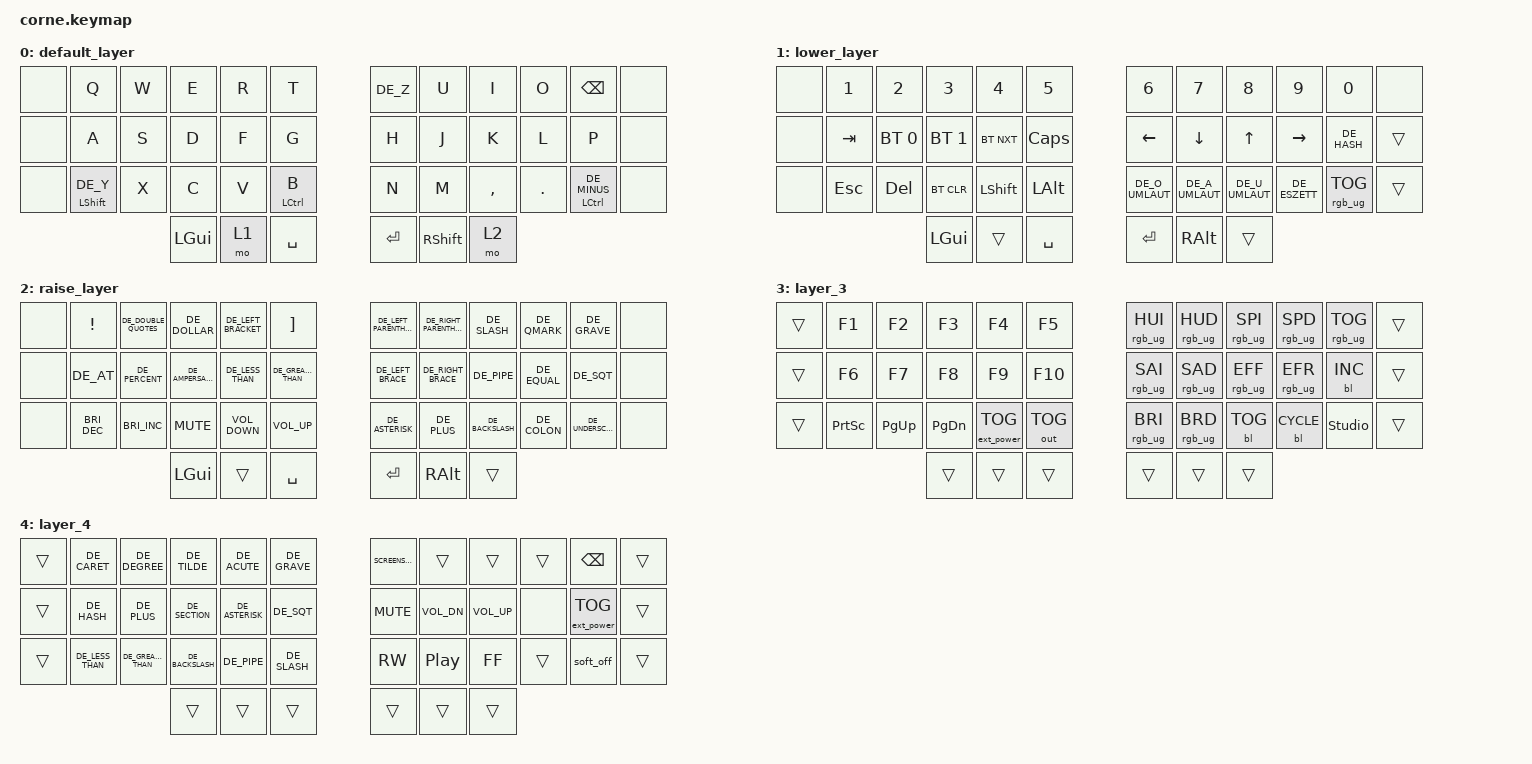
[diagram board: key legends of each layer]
/*
 * Copyright (c) 2020 The ZMK Contributors
 *
 * SPDX-License-Identifier: MIT
 */
// for german locale

#include "keys_de.h"
#include <behaviors.dtsi>
#include <dt-bindings/zmk/backlight.h>
#include <dt-bindings/zmk/bt.h>
#include <dt-bindings/zmk/ext_power.h>
#include <dt-bindings/zmk/keys.h>
#include <dt-bindings/zmk/outputs.h>
#include <dt-bindings/zmk/rgb.h>

&led_strip { chain-length = <27>; };

/ {
    combos {
        compatible = "zmk,combos";

        Layer3 {
            bindings = <&tog 3>;
            key-positions = <37 40>;
        };

        sonderzeichen {
            bindings = <&tog 4>;
            key-positions = <41 37>;
        };
    };

    behaviors {
        leftctrl_b: leftctrl_b {
            compatible = "zmk,behavior-hold-tap";
            label = "LEFTCTRL_B";
            bindings = <&kp>, <&kp>;

            #binding-cells = <2>;
            tapping-term-ms = <350>;
            require-prior-idle-ms = <200>;
            hold-while-undecided;
            hold-while-undecided-linger;
            retro-tap;
            hold-trigger-on-release;
            flavor = "tap-preferred";
        };
    };

    keymap {
        compatible = "zmk,keymap";

        default_layer {
            // -----------------------------------------------------------------------------------------
            // |  TAB |  Q  |  W  |  E  |  R  |  T  |   |  Y  |  U   |  I  |  O  |  P  | BSPC |
            // | CTRL |  A  |  S  |  D  |  F  |  G  |   |  H  |  J   |  K  |  L  |  ;  |  '   |
            // | SHFT |  Z  |  X  |  C  |  V  |  B  |   |  N  |  M   |  ,  |  .  |  /  | ESC  |
            //                    | GUI | LWR | SPC |   | ENT | RSE  | ALT |

            bindings = <
&none  &kp Q                &kp W  &kp E     &kp R  &kp T                         &kp DE_Z  &kp U            &kp I      &kp O    &kp BACKSPACE       &none
&none  &kp A                &kp S  &kp D     &kp F  &kp G                         &kp H     &kp J            &kp K      &kp L    &kp P               &none
&none  &mt LEFT_SHIFT DE_Y  &kp X  &kp C     &kp V  &leftctrl_b LEFT_CONTROL B    &kp N     &kp M            &kp COMMA  &kp DOT  &mt LCTRL DE_MINUS  &none
                                   &kp LGUI  &mo 1  &kp SPACE                     &kp RET   &kp RIGHT_SHIFT  &mo 2
            >;
        };

        lower_layer {
            // -----------------------------------------------------------------------------------------
            // |  TAB |  1  |  2  |  3  |  4  |  5  |   |  6  |  7  |  8  |  9  |  0  | BSPC |
            // | BTCLR| BT1 | BT2 | BT3 | BT4 | BT5 |   | LFT | DWN |  UP | RGT |     |      |
            // | SHFT |     |     |     |     |     |   |     |     |     |     |     |      |
            //                    | GUI |     | SPC |   | ENT |     | ALT |

            bindings = <
&none  &kp N1      &kp N2        &kp N3        &kp N4          &kp N5          &kp N6           &kp N7           &kp N8           &kp N9         &kp N0           &none
&none  &kp TAB     &bt BT_SEL 0  &bt BT_SEL 1  &bt BT_NXT      &kp CAPSLOCK    &kp LEFT         &kp DOWN         &kp UP           &kp RIGHT      &kp DE_HASH      &trans
&none  &kp ESCAPE  &kp DELETE    &bt BT_CLR    &kp LEFT_SHIFT  &kp LEFT_ALT    &kp DE_O_UMLAUT  &kp DE_A_UMLAUT  &kp DE_U_UMLAUT  &kp DE_ESZETT  &rgb_ug RGB_TOG  &trans
                                 &kp LGUI      &trans          &kp SPACE       &kp RET          &kp RALT         &trans
            >;
        };

        raise_layer {
            // -----------------------------------------------------------------------------------------
            // |  TAB |  !  |  @  |  #  |  $  |  %  |   |  ^  |  &  |  *  |  (  |  )  | BSPC |
            // | CTRL |     |     |     |     |     |   |  -  |  =  |  [  |  ]  |  \  |  `   |
            // | SHFT |     |     |     |     |     |   |  _  |  +  |  {  |  }  | "|" |  ~   |
            //                    | GUI |     | SPC |   | ENT |     | ALT |

            bindings = <
&none  &kp EXCL              &kp DE_DOUBLE_QUOTES  &kp DE_DOLLAR     &kp DE_LEFT_BRACKET  &kp RIGHT_BRACKET      &kp DE_LEFT_PARENTHESIS  &kp DE_RIGHT_PARENTHESIS  &kp DE_SLASH      &kp DE_QMARK  &kp DE_GRAVE       &none
&none  &kp DE_AT             &kp DE_PERCENT        &kp DE_AMPERSAND  &kp DE_LESS_THAN     &kp DE_GREATER_THAN    &kp DE_LEFT_BRACE        &kp DE_RIGHT_BRACE        &kp DE_PIPE       &kp DE_EQUAL  &kp DE_SQT         &none
&none  &kp C_BRIGHTNESS_DEC  &kp C_BRIGHTNESS_INC  &kp K_MUTE        &kp C_VOLUME_DOWN    &kp C_VOLUME_UP        &kp DE_ASTERISK          &kp DE_PLUS               &kp DE_BACKSLASH  &kp DE_COLON  &kp DE_UNDERSCORE  &none
                                                   &kp LGUI          &trans               &kp SPACE              &kp RET                  &kp RALT                  &trans
            >;
        };

        layer_3 {
            bindings = <
&trans  &kp F1           &kp F2       &kp F3         &kp F4             &kp F5          &rgb_ug RGB_HUI  &rgb_ug RGB_HUD  &rgb_ug RGB_SPI  &rgb_ug RGB_SPD  &rgb_ug RGB_TOG  &trans
&trans  &kp F6           &kp F7       &kp F8         &kp F9             &kp F10         &rgb_ug RGB_SAI  &rgb_ug RGB_SAD  &rgb_ug RGB_EFF  &rgb_ug RGB_EFR  &bl BL_INC       &trans
&trans  &kp PRINTSCREEN  &kp PAGE_UP  &kp PAGE_DOWN  &ext_power EP_TOG  &out OUT_TOG    &rgb_ug RGB_BRI  &rgb_ug RGB_BRD  &bl BL_TOG       &bl BL_CYCLE     &studio_unlock   &trans
                                      &trans         &trans             &trans          &trans           &trans           &trans
            >;
        };

        layer_4 {
            bindings = <
&trans  &kp DE_CARET      &kp DE_DEGREE        &kp DE_TILDE      &kp DE_ACUTE     &kp DE_GRAVE    &kp K_SCREENSAVER  &trans            &trans        &trans  &kp BACKSPACE      &trans
&trans  &kp DE_HASH       &kp DE_PLUS          &kp DE_SECTION    &kp DE_ASTERISK  &kp DE_SQT      &kp C_MUTE         &kp C_VOL_DN      &kp C_VOL_UP  &none   &ext_power EP_TOG  &trans
&trans  &kp DE_LESS_THAN  &kp DE_GREATER_THAN  &kp DE_BACKSLASH  &kp DE_PIPE      &kp DE_SLASH    &kp C_RW           &kp C_PLAY_PAUSE  &kp C_FF      &trans  &soft_off          &trans
                                               &trans            &trans           &trans          &trans             &trans            &trans
            >;
        };
    };
};
